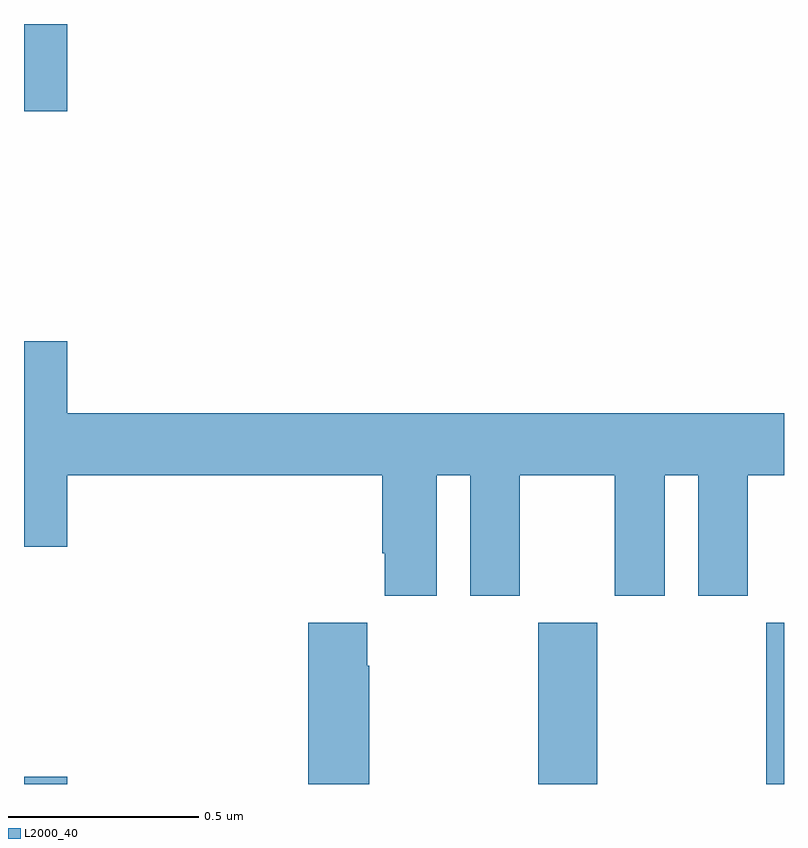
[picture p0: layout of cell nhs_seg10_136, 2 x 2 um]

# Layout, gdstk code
import gdstk
lib = gdstk.Library(unit=1e-6, precision=1e-09)
def R(c, l, rs):  # rectangles x0, y0, x1, y1
    for r in rs: c.add(gdstk.rectangle(r[:2], r[2:], *l))
def P(c, l, *ps):  # polygons
    for p in ps: c.add(gdstk.Polygon(p, *l))
L2000_40 = (2000, 40)

nhs_seg10_136 = lib.new_cell('nhs_seg10_136')
R(nhs_seg10_136, L2000_40, [(112,1303.5,112.114,1303.519), (113.353,1303.5,113.508,1303.924), (113.953,1303.5,114,1303.924), (112,1305.27,112.114,1305.5)])
P(nhs_seg10_136, L2000_40, [(113.086,1304.312),(113.174,1304.312),(113.174,1303.995),(113.305,1303.995),(113.305,1304.312),(113.555,1304.312),(113.555,1303.995),(113.686,1303.995),(113.686,1304.312),(113.774,1304.312),(113.774,1303.995),(113.905,1303.995),(113.905,1304.312),(114,1304.312),(114,1304.476),(112.114,1304.476),(112.114,1304.665),(112,1304.665),(112,1304.124),(112.114,1304.124),(112.114,1304.312),(112.943,1304.312),(112.943,1304.107),(112.949,1304.107),(112.949,1303.995),(113.086,1303.995)],
  [(112.908,1303.811),(112.903,1303.811),(112.903,1303.924),(112.748,1303.924),(112.748,1303.5),(112.908,1303.5)])

lib.write_gds('nhs_seg10_136.gds')
